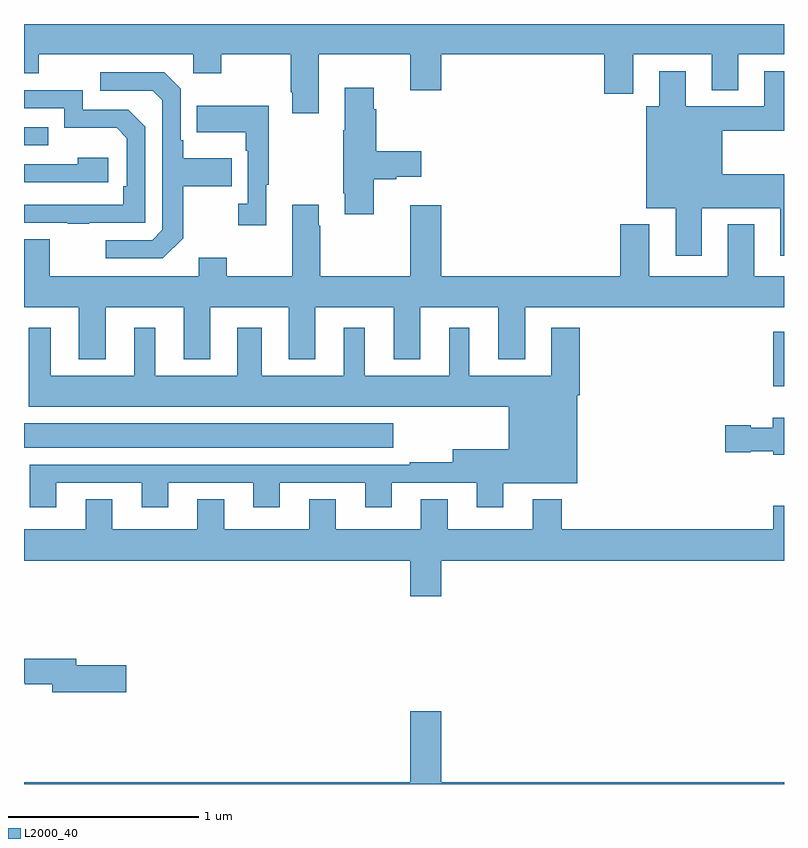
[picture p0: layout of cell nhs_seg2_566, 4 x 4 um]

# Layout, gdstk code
import gdstk
lib = gdstk.Library(unit=1e-6, precision=1e-09)
def R(c, l, rs):  # rectangles x0, y0, x1, y1
    for r in rs: c.add(gdstk.rectangle(r[:2], r[2:], *l))
def P(c, l, *ps):  # polygons
    for p in ps: c.add(gdstk.Polygon(p, *l))
L2000_40 = (2000, 40)

nhs_seg2_566 = lib.new_cell('nhs_seg2_566')
R(nhs_seg2_566, L2000_40, [(139,641.57,140.944,641.698), (142.943,641.894,143,642.181), (139,643.161,139.127,643.257)])
P(nhs_seg2_566, L2000_40, [(140.551,643.64),(141.032,643.64),(141.032,643.452),(141.196,643.452),(141.196,643.64),(142.055,643.64),(142.055,643.434),(142.207,643.434),(142.207,643.64),(142.619,643.64),(142.619,643.451),(142.759,643.451),(142.759,643.64),(143,643.64),(143,643.8),(139,643.8),(139,643.541),(139.077,643.541),(139.077,643.64),(139.89,643.64),(139.89,643.541),(140.037,643.541),(140.037,643.64),(140.404,643.64),(140.404,643.441),(140.411,643.441),(140.411,643.329),(140.551,643.329)],
  [(142.567,642.83),(142.979,642.83),(142.979,642.579),(143,642.579),(143,643.009),(142.675,643.009),(142.675,643.238),(143,643.238),(143,643.552),(142.895,643.552),(142.895,643.366),(142.483,643.366),(142.483,643.552),(142.343,643.552),(142.343,643.366),(142.274,643.366),(142.274,642.83),(142.43,642.83),(142.43,642.579),(142.567,642.579)],
  [(139.837,642.673),(139.837,642.946),(140.093,642.946),(140.093,643.093),(139.837,643.093),(139.837,643.189),(139.824,643.189),(139.824,643.458),(139.737,643.545),(139.401,643.545),(139.401,643.449),(139.677,643.449),(139.728,643.398),(139.728,642.717),(139.674,642.663),(139.431,642.663),(139.431,642.567),(139.731,642.567)],
  [(140.842,642.983),(140.958,642.983),(140.958,642.995),(141.091,642.995),(141.091,643.13),(140.855,643.13),(140.855,643.352),(140.842,643.352),(140.842,643.465),(140.687,643.465),(140.687,643.241),(140.68,643.241),(140.68,642.91),(140.687,642.91),(140.687,642.798),(140.842,642.798)],
  [(139.343,642.753),(139.638,642.753),(139.638,643.26),(139.548,643.35),(139.308,643.35),(139.308,643.452),(139,643.452),(139,643.356),(139.212,643.356),(139.212,643.253),(139.489,643.253),(139.542,643.2),(139.542,642.946),(139.522,642.946),(139.522,642.849),(139,642.849),(139,642.753),(139.231,642.753),(139.231,642.748),(139.343,642.748)],
  [(140.275,642.953),(140.287,642.953),(140.287,643.369),(139.909,643.369),(139.909,643.229),(140.166,643.229),(140.166,643.133),(140.178,643.133),(140.178,642.854),(140.127,642.854),(140.127,642.741),(140.275,642.741)],
  [(139.444,643.096),(139.283,643.096),(139.283,643.062),(139,643.062),(139,642.966),(139.444,642.966)],
  [(140.067,642.571),(139.919,642.571),(139.919,642.472),(139.135,642.472),(139.135,642.667),(139,642.667),(139,642.308),(139.289,642.308),(139.289,642.035),(139.429,642.035),(139.429,642.308),(139.841,642.308),(139.841,642.035),(139.981,642.035),(139.981,642.308),(140.393,642.308),(140.393,642.035),(140.533,642.035),(140.533,642.308),(140.945,642.308),(140.945,642.035),(141.085,642.035),(141.085,642.308),(141.497,642.308),(141.497,642.035),(141.637,642.035),(141.637,642.308),(143,642.308),(143,642.472),(142.843,642.472),(142.843,642.745),(142.703,642.745),(142.703,642.472),(142.291,642.472),(142.291,642.745),(142.139,642.745),(142.139,642.472),(141.196,642.472),(141.196,642.847),(141.032,642.847),(141.032,642.472),(140.559,642.472),(140.559,642.737),(140.551,642.737),(140.551,642.85),(140.411,642.85),(140.411,642.472),(140.067,642.472)],
  [(139.171,641.385),(139.619,641.385),(139.619,641.256),(139.759,641.256),(139.759,641.385),(140.207,641.385),(140.207,641.256),(140.347,641.256),(140.347,641.385),(140.795,641.385),(140.795,641.256),(140.935,641.256),(140.935,641.385),(141.383,641.385),(141.383,641.256),(141.523,641.256),(141.523,641.384),(141.913,641.384),(141.913,641.846),(141.926,641.846),(141.926,642.202),(141.776,642.202),(141.776,641.95),(141.343,641.95),(141.343,642.202),(141.239,642.202),(141.239,641.95),(140.794,641.95),(140.794,642.202),(140.684,642.202),(140.684,641.95),(140.251,641.95),(140.251,642.202),(140.123,642.202),(140.123,641.95),(139.69,641.95),(139.69,642.202),(139.58,642.202),(139.58,641.95),(139.141,641.95),(139.141,642.202),(139.025,642.202),(139.025,641.786),(141.551,641.786),(141.551,641.563),(141.257,641.563),(141.257,641.494),(141.031,641.494),(141.031,641.481),(139.031,641.481),(139.031,641.256),(139.171,641.256)],
  [(143,641.728),(142.94,641.728),(142.94,641.674),(142.824,641.674),(142.824,641.687),(142.692,641.687),(142.692,641.545),(142.824,641.545),(142.824,641.552),(142.944,641.552),(142.944,641.534),(143,641.534)],
  [(141.196,640.976),(143,640.976),(143,641.264),(142.943,641.264),(142.943,641.14),(141.83,641.14),(141.83,641.299),(141.677,641.299),(141.677,641.14),(141.229,641.14),(141.229,641.3),(141.089,641.3),(141.089,641.14),(140.641,641.14),(140.641,641.3),(140.501,641.3),(140.501,641.14),(140.053,641.14),(140.053,641.3),(139.913,641.3),(139.913,641.14),(139.465,641.14),(139.465,641.3),(139.325,641.3),(139.325,641.14),(139,641.14),(139,640.976),(141.032,640.976),(141.032,640.788),(141.196,640.788)],
  [(139.537,640.424),(139.276,640.424),(139.276,640.46),(139,640.46),(139,640.332),(139.005,640.332),(139.005,640.324),(139.148,640.324),(139.148,640.282),(139.537,640.282)],
  [(143,639.808),(141.196,639.808),(141.196,640.183),(141.032,640.183),(141.032,639.808),(139,639.808),(139,639.8),(143,639.8)])

lib.write_gds('nhs_seg2_566.gds')
